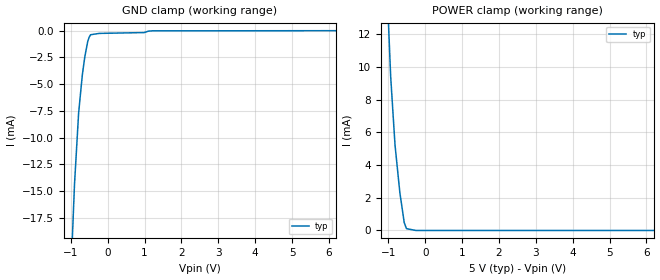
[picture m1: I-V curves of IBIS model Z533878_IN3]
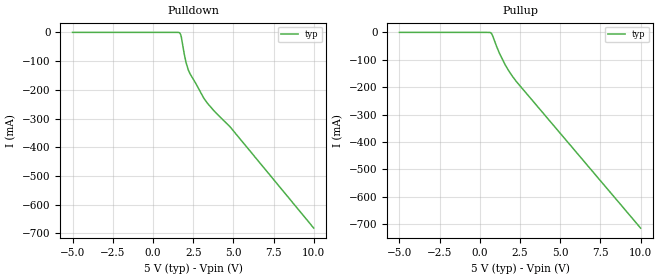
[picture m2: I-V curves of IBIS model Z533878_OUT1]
[IBIS Ver] 3.1
[File Name] mc100elt22d.ibs
[File Rev] 5.0
[Source] Measured and created by ICX Technology
[Date] 2/18/2004
[Copyright]
| (C) COPYRIGHT 1993-2000
| MENTOR GRAPHICS CORPORATION
| ICX STANDARD LIBRARY, ICX PROJECT MODELING,
| ICX CUSTOM MODELING, ICX VENDOR MODEL
| ALL RIGHTS RESERVED.
| THE FOLLOWING ARE TRADEMARKS OR SERVICE MARKS OF
| MENTOR GRAPHICS CORPORATION:ICX (R), ICX STANDARD
| LIBRARY(R), ICX PROJECT MODELING(R), ICX CUSTOM
| MODELING(R), qualityIBIS(TM), MODELVIEWER(TM),
| AND MODELEDITOR(TM)
| ALL COPIES OF SOFTWARE, INCLUDING BUT NOT LIMITED TO
| ANY MODIFICATIONS, ENHANCEMENTS OR DERIVATIVE WORKS,
| MUST CONTAIN ALL MENTOR GRAPHICS CORPORATION'S
| NOTICES AND LEGENDS, INCLUDING THOSE EMBEDDED IN
| SOFTWARE AND THOSE AFFIXED TO SOFTWARE MEDIUM
| AND CONTAINER, AS RECEIVED FROM MENTOR GRAPHICS
| CORPORATION.
|  ZAP Model Builder 2.7
[Component] MC100ELT22D
[Manufacturer] OnSemiconductor
[Package]
| variable   typ   min   max
R_pkg  .152ohms NA NA
L_pkg  2.714nH NA NA
C_pkg  .364pF NA NA
[Pin] signal_name  model_name  R_pin  L_pin C_pin
1 Q0 Z533878_OUT1 .154 2.924n .374p
2 _Q0 Z533878_OUT2 .15 2.504n .354p
3 Q1 Z533878_OUT1 .15 2.504n .354p
4 _Q1 Z533878_OUT2 .154 2.924n .374p
5 GND GND .154 2.924n .374p
6 D1 Z533878_IN3 .15 2.504n .354p
7 D0 Z533878_IN3 .15 2.504n .354p
8 VCC POWER .154 2.924n .374p
| Models and submodels in the file (3): Z533878_IN3 (Input), Z533878_OUT1 (Output_ECL), Z533878_OUT2 (Output_ECL)
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| (C) COPYRIGHT 1993-2000
| MENTOR GRAPHICS CORPORATION
| ICX STANDARD LIBRARY, ICX PROJECT MODELING,
| ICX CUSTOM MODELING, ICX VENDOR MODEL
| ALL RIGHTS RESERVED.
| THE FOLLOWING ARE TRADEMARKS OR SERVICE MARKS OF
| MENTOR GRAPHICS CORPORATION:ICX (R), ICX STANDARD
| LIBRARY(R), ICX PROJECT MODELING(R), ICX CUSTOM
| MODELING(R), qualityIBIS(TM), MODELVIEWER(TM),
| AND MODELEDITOR(TM)
| ALL COPIES OF SOFTWARE, INCLUDING BUT NOT LIMITED TO
| ANY MODIFICATIONS, ENHANCEMENTS OR DERIVATIVE WORKS,
| MUST CONTAIN ALL MENTOR GRAPHICS CORPORATION'S
| NOTICES AND LEGENDS, INCLUDING THOSE EMBEDDED IN
| SOFTWARE AND THOSE AFFIXED TO SOFTWARE MEDIUM
| AND CONTAINER, AS RECEIVED FROM MENTOR GRAPHICS
| CORPORATION.
| Model Application Version 1.89 2/18/99.
[Model] Z533878_IN3
Model_type Input
Vinl = 800.0mV
Vinh = 2.000V
C_comp 1.000pF NA NA
| variable typ   min   max
[Voltage Range] 5.000V NA NA
[GND Clamp Reference] 0.000V NA NA
[POWER Clamp Reference] 5.000V NA NA
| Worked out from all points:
|   GND clamp passes 1 mA (typ) near -0.54 V on its own axis
|   POWER clamp passes 1 mA (typ) near -0.60 V on its own axis
[GND Clamp]
-5V       -367.1mA   NA         NA
-902.2mV  -14.37mA   NA         NA
-790.2mV  -7.689mA   NA         NA
-688.6mV  -4.099mA   NA         NA
-622.9mV  -2.45mA    NA         NA
-541.8mV  -976.5uA   NA         NA
-502.2mV  -592.4uA   NA         NA
-463.9mV  -374.8uA   NA         NA
-231.9mV  -250.8uA   NA         NA
989.8mV   -172.9uA   NA         NA
1.207V    -11.63uA   NA         NA
10V       13.49uA    NA         NA
[POWER Clamp]
-5V       339mA      NA         NA
-1.054V   15.76mA    NA         NA
-938mV    9.414mA    NA         NA
-820mV    5.22mA     NA         NA
-688mV    2.297mA    NA         NA
-570mV    477.5uA    NA         NA
-509mV    110.8uA    NA         NA
-254.5mV  0A         NA         NA
10V       0A         NA         NA
| (C) COPYRIGHT 1993-2000
| MENTOR GRAPHICS CORPORATION
| ICX STANDARD LIBRARY, ICX PROJECT MODELING,
| ICX CUSTOM MODELING, ICX VENDOR MODEL
| ALL RIGHTS RESERVED.
| THE FOLLOWING ARE TRADEMARKS OR SERVICE MARKS OF
| MENTOR GRAPHICS CORPORATION:ICX (R), ICX STANDARD
| LIBRARY(R), ICX PROJECT MODELING(R), ICX CUSTOM
| MODELING(R), qualityIBIS(TM), MODELVIEWER(TM),
| AND MODELEDITOR(TM)
| ALL COPIES OF SOFTWARE, INCLUDING BUT NOT LIMITED TO
| ANY MODIFICATIONS, ENHANCEMENTS OR DERIVATIVE WORKS,
| MUST CONTAIN ALL MENTOR GRAPHICS CORPORATION'S
| NOTICES AND LEGENDS, INCLUDING THOSE EMBEDDED IN
| SOFTWARE AND THOSE AFFIXED TO SOFTWARE MEDIUM
| AND CONTAINER, AS RECEIVED FROM MENTOR GRAPHICS
| CORPORATION.
| Model Application Version 1.89 2/18/99.
[Model] Z533878_OUT1
Model_type Output_ECL
Vref=3.000V
Rref=50.00ohms
Cref=0.000F
Vmeas=3.675V
C_comp 1.000pF NA NA
| variable typ   min   max
[Voltage Range] 5.000V NA NA
[POWER Clamp Reference] 5.000V NA NA
[Pullup Reference] 5.000V NA NA
[Pulldown Reference] 0.000V NA NA
[GND Clamp Reference] 0.000V NA NA
[GND Clamp]
-5V       0A         NA         NA
10V       0A         NA         NA
[Pulldown]
-5V       105.2uA    NA         NA
1.523V    97.34uA    NA         NA
1.68V     -2.602mA   NA         NA
1.767V    -16.41mA   NA         NA
1.957V    -78.51mA   NA         NA
2.065V    -106.1mA   NA         NA
2.198V    -130.6mA   NA         NA
2.306V    -144mA     NA         NA
3.15V     -227.9mA   NA         NA
3.779V    -272mA     NA         NA
4.78V     -327.8mA   NA         NA
10V       -681.8mA   NA         NA
[Pullup]
-5V       149uA      NA         NA
586mV     -36.23uA   NA         NA
703mV     -2.294mA   NA         NA
809mV     -13.86mA   NA         NA
1.218V    -75.67mA   NA         NA
1.573V    -117.7mA   NA         NA
1.788V    -139.2mA   NA         NA
2.285V    -180.1mA   NA         NA
10V       -714.5mA   NA         NA
[POWER Clamp]
-5V       0A         NA         NA
10V       0A         NA         NA
[Ramp]
| variable typ min max
dV/dt_r 857.8m/560.2p NA NA
dV/dt_f 857.8m/642.6p NA NA
R_load = 50.0Ohms
